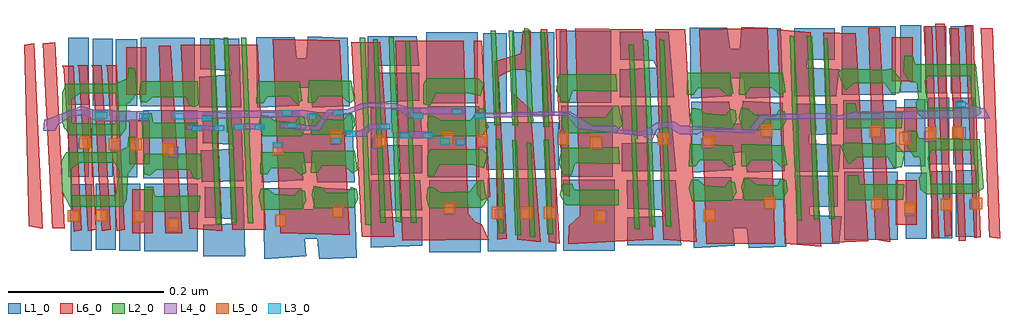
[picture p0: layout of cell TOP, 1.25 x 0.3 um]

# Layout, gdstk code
import gdstk
lib = gdstk.Library(unit=1e-6, precision=1e-09)
def R(c, l, rs):  # rectangles x0, y0, x1, y1
    for r in rs: c.add(gdstk.rectangle(r[:2], r[2:], *l))
def P(c, l, *ps):  # polygons
    for p in ps: c.add(gdstk.Polygon(p, *l))
L1_0 = (1, 0)
L2_0 = (2, 0)
L3_0 = (3, 0)
L4_0 = (4, 0)
L5_0 = (5, 0)
L6_0 = (6, 0)

top = lib.new_cell('TOP')
R(top, L1_0, [(0.678,-0.317,0.744,-0.225), (0.312,-0.316,0.381,-0.229), (0.753,-0.316,0.841,-0.222), (0.218,-0.315,0.245,-0.23), (0.28,-0.315,0.307,-0.229), (0.85,-0.315,0.916,-0.224), (0.25,-0.314,0.276,-0.229), (1.21,-0.301,1.279,-0.214), (1.289,-0.3,1.316,-0.215), (1.322,-0.299,1.349,-0.213), (1.353,-0.297,1.38,-0.212), (0.311,-0.222,0.38,-0.135), (0.277,-0.221,0.303,-0.136), (0.676,-0.221,0.742,-0.13), (0.215,-0.22,0.241,-0.134), (0.245,-0.22,0.272,-0.134), (0.847,-0.22,0.913,-0.129), (0.751,-0.211,0.844,-0.15), (1.209,-0.21,1.277,-0.122), (1.287,-0.207,1.314,-0.121), (1.318,-0.204,1.345,-0.119), (1.35,-0.204,1.377,-0.119), (0.784,-0.141,0.838,-0.035), (0.747,-0.14,0.777,-0.036), (0.308,-0.13,0.377,-0.042), (0.246,-0.129,0.272,-0.043), (0.276,-0.129,0.303,-0.044), (0.215,-0.128,0.241,-0.042), (0.674,-0.126,0.74,-0.035), (0.845,-0.125,0.911,-0.033), (1.207,-0.115,1.276,-0.027), (1.314,-0.113,1.341,-0.027), (1.347,-0.113,1.374,-0.027), (1.282,-0.112,1.309,-0.026)])
P(top, L1_0, [(0.383,-0.132),(0.383,-0.092),(0.424,-0.089),(0.423,-0.084),(0.384,-0.082),(0.384,-0.042),(0.434,-0.043),(0.437,-0.131)],
  [(0.386,-0.227),(0.385,-0.186),(0.427,-0.184),(0.426,-0.179),(0.387,-0.177),(0.387,-0.137),(0.437,-0.138),(0.44,-0.226)],
  [(0.388,-0.323),(0.388,-0.282),(0.43,-0.28),(0.428,-0.275),(0.39,-0.273),(0.39,-0.233),(0.439,-0.234),(0.442,-0.322)],
  [(0.457,-0.132),(0.456,-0.041),(0.505,-0.041),(0.508,-0.068),(0.52,-0.068),(0.522,-0.04),(0.573,-0.042),(0.576,-0.13),(0.528,-0.132),(0.525,-0.106),(0.509,-0.106),(0.511,-0.129)],
  [(0.463,-0.228),(0.462,-0.137),(0.511,-0.137),(0.514,-0.165),(0.526,-0.165),(0.528,-0.137),(0.579,-0.139),(0.582,-0.227),(0.534,-0.228),(0.531,-0.202),(0.515,-0.203),(0.516,-0.225)],
  [(0.466,-0.326),(0.465,-0.235),(0.514,-0.235),(0.517,-0.262),(0.529,-0.262),(0.531,-0.234),(0.582,-0.236),(0.585,-0.324),(0.537,-0.326),(0.534,-0.3),(0.518,-0.3),(0.52,-0.322)],
  [(1.013,-0.12),(1.012,-0.029),(1.06,-0.029),(1.064,-0.056),(1.076,-0.056),(1.078,-0.028),(1.129,-0.03),(1.132,-0.118),(1.083,-0.12),(1.081,-0.094),(1.064,-0.094),(1.066,-0.117)],
  [(1.015,-0.215),(1.014,-0.124),(1.063,-0.124),(1.066,-0.152),(1.078,-0.152),(1.08,-0.123),(1.131,-0.125),(1.134,-0.213),(1.085,-0.215),(1.083,-0.189),(1.066,-0.19),(1.068,-0.212)],
  [(1.017,-0.312),(1.016,-0.221),(1.065,-0.221),(1.068,-0.249),(1.08,-0.249),(1.082,-0.221),(1.133,-0.223),(1.136,-0.31),(1.088,-0.312),(1.085,-0.286),(1.068,-0.287),(1.07,-0.309)],
  [(0.603,-0.218),(0.603,-0.132),(0.666,-0.132),(0.669,-0.17),(0.614,-0.171),(0.616,-0.179),(0.669,-0.18),(0.669,-0.216)],
  [(0.603,-0.311),(0.603,-0.225),(0.666,-0.225),(0.669,-0.263),(0.614,-0.263),(0.617,-0.272),(0.669,-0.272),(0.669,-0.309)],
  [(0.599,-0.126),(0.599,-0.04),(0.662,-0.04),(0.665,-0.078),(0.61,-0.078),(0.612,-0.087),(0.665,-0.087),(0.665,-0.123)],
  [(1.146,-0.117),(1.146,-0.029),(1.198,-0.03),(1.198,-0.07),(1.162,-0.07),(1.162,-0.08),(1.204,-0.082),(1.2,-0.117)],
  [(1.148,-0.214),(1.148,-0.126),(1.201,-0.127),(1.201,-0.166),(1.165,-0.167),(1.165,-0.177),(1.206,-0.179),(1.203,-0.214)],
  [(1.149,-0.306),(1.149,-0.218),(1.202,-0.219),(1.202,-0.259),(1.166,-0.259),(1.166,-0.269),(1.207,-0.271),(1.204,-0.306)],
  [(0.925,-0.213),(0.925,-0.177),(0.972,-0.175),(0.969,-0.167),(0.926,-0.165),(0.924,-0.129),(0.987,-0.129),(0.995,-0.213)],
  [(0.922,-0.118),(0.922,-0.082),(0.969,-0.08),(0.966,-0.072),(0.923,-0.07),(0.922,-0.034),(0.985,-0.034),(0.992,-0.118)],
  [(0.932,-0.309),(0.932,-0.272),(0.979,-0.27),(0.975,-0.263),(0.932,-0.261),(0.931,-0.225),(0.994,-0.225),(1.001,-0.308)])
P(top, L2_0, [(0.21,-0.247),(0.207,-0.239),(0.206,-0.2),(0.212,-0.189),(0.276,-0.189),(0.291,-0.182),(0.292,-0.169),(0.301,-0.169),(0.302,-0.202),(0.293,-0.215),(0.281,-0.215),(0.275,-0.203),(0.23,-0.202),(0.219,-0.21),(0.219,-0.245)],
  [(0.217,-0.259),(0.211,-0.247),(0.22,-0.244),(0.276,-0.244),(0.28,-0.214),(0.292,-0.215),(0.29,-0.25),(0.285,-0.259)],
  [(0.404,-0.281),(0.399,-0.159),(0.406,-0.16),(0.411,-0.281)],
  [(0.431,-0.28),(0.424,-0.279),(0.42,-0.158),(0.426,-0.159)],
  [(0.445,-0.28),(0.44,-0.158),(0.447,-0.159),(0.452,-0.28)],
  [(0.604,-0.283),(0.596,-0.282),(0.592,-0.16),(0.598,-0.161)],
  [(0.622,-0.28),(0.615,-0.279),(0.61,-0.158),(0.617,-0.159)],
  [(0.642,-0.279),(0.635,-0.278),(0.631,-0.157),(0.637,-0.158)],
  [(0.662,-0.28),(0.654,-0.279),(0.65,-0.158),(0.656,-0.159)],
  [(0.767,-0.293),(0.763,-0.171),(0.769,-0.172),(0.774,-0.293)],
  [(0.788,-0.295),(0.784,-0.173),(0.79,-0.174),(0.796,-0.295)],
  [(0.814,-0.298),(0.807,-0.297),(0.803,-0.175),(0.809,-0.177)],
  [(0.829,-0.294),(0.825,-0.172),(0.831,-0.173),(0.837,-0.294)],
  [(0.948,-0.288),(0.941,-0.287),(0.937,-0.166),(0.943,-0.167)],
  [(0.968,-0.285),(0.96,-0.284),(0.956,-0.162),(0.963,-0.163)],
  [(0.988,-0.285),(0.981,-0.284),(0.977,-0.162),(0.983,-0.163)],
  [(1.156,-0.277),(1.149,-0.276),(1.144,-0.154),(1.151,-0.156)],
  [(1.171,-0.275),(1.167,-0.153),(1.173,-0.154),(1.178,-0.275)],
  [(1.198,-0.275),(1.191,-0.274),(1.187,-0.153),(1.193,-0.154)],
  [(0.381,-0.224),(0.375,-0.223),(0.371,-0.212),(0.328,-0.211),(0.319,-0.219),(0.312,-0.217),(0.311,-0.205),(0.313,-0.19),(0.385,-0.191),(0.387,-0.221)],
  [(0.312,-0.266),(0.312,-0.233),(0.324,-0.233),(0.326,-0.245),(0.384,-0.244),(0.383,-0.265)],
  [(0.513,-0.218),(0.503,-0.209),(0.475,-0.209),(0.47,-0.217),(0.461,-0.217),(0.462,-0.188),(0.517,-0.189),(0.52,-0.215)],
  [(0.463,-0.263),(0.459,-0.246),(0.462,-0.235),(0.471,-0.236),(0.479,-0.242),(0.505,-0.244),(0.511,-0.236),(0.518,-0.238),(0.52,-0.251),(0.514,-0.262)],
  [(0.531,-0.261),(0.527,-0.243),(0.53,-0.232),(0.538,-0.233),(0.546,-0.24),(0.573,-0.241),(0.578,-0.233),(0.585,-0.236),(0.587,-0.248),(0.581,-0.26)],
  [(0.579,-0.216),(0.569,-0.206),(0.54,-0.207),(0.535,-0.215),(0.526,-0.215),(0.527,-0.186),(0.582,-0.187),(0.586,-0.212)],
  [(0.683,-0.221),(0.675,-0.219),(0.675,-0.193),(0.679,-0.185),(0.746,-0.185),(0.753,-0.192),(0.748,-0.209),(0.733,-0.205),(0.691,-0.205)],
  [(0.678,-0.261),(0.674,-0.248),(0.676,-0.234),(0.683,-0.234),(0.692,-0.24),(0.73,-0.239),(0.741,-0.225),(0.748,-0.225),(0.75,-0.241),(0.753,-0.249),(0.745,-0.26)],
  [(0.86,-0.219),(0.85,-0.218),(0.844,-0.202),(0.848,-0.183),(0.921,-0.182),(0.922,-0.204),(0.865,-0.203)],
  [(0.853,-0.257),(0.845,-0.243),(0.849,-0.229),(0.861,-0.229),(0.864,-0.237),(0.921,-0.236),(0.921,-0.257)],
  [(1.063,-0.208),(1.053,-0.199),(1.025,-0.199),(1.02,-0.207),(1.011,-0.207),(1.012,-0.178),(1.067,-0.18),(1.071,-0.205)],
  [(1.13,-0.208),(1.12,-0.199),(1.091,-0.199),(1.086,-0.207),(1.078,-0.207),(1.078,-0.178),(1.133,-0.18),(1.137,-0.205)],
  [(1.015,-0.252),(1.011,-0.235),(1.014,-0.224),(1.023,-0.224),(1.031,-0.231),(1.057,-0.233),(1.063,-0.225),(1.07,-0.227),(1.072,-0.24),(1.066,-0.251)],
  [(1.082,-0.251),(1.078,-0.233),(1.081,-0.222),(1.089,-0.223),(1.097,-0.23),(1.124,-0.231),(1.129,-0.223),(1.136,-0.225),(1.138,-0.238),(1.132,-0.25)],
  [(1.215,-0.251),(1.215,-0.218),(1.228,-0.218),(1.23,-0.23),(1.287,-0.229),(1.286,-0.25)],
  [(1.274,-0.209),(1.266,-0.195),(1.227,-0.195),(1.217,-0.204),(1.215,-0.203),(1.206,-0.182),(1.212,-0.176),(1.267,-0.178),(1.275,-0.176),(1.288,-0.191),(1.284,-0.208)],
  [(1.38,-0.241),(1.379,-0.225),(1.376,-0.186),(1.322,-0.187),(1.318,-0.196),(1.3,-0.195),(1.291,-0.182),(1.292,-0.161),(1.303,-0.161),(1.306,-0.17),(1.384,-0.172),(1.389,-0.235)],
  [(1.316,-0.243),(1.308,-0.236),(1.306,-0.222),(1.309,-0.216),(1.307,-0.195),(1.318,-0.195),(1.322,-0.229),(1.379,-0.229),(1.38,-0.242)],
  [(0.216,-0.167),(0.209,-0.155),(0.218,-0.151),(0.275,-0.152),(0.278,-0.121),(0.29,-0.122),(0.289,-0.158),(0.283,-0.167)],
  [(0.21,-0.159),(0.207,-0.151),(0.207,-0.111),(0.212,-0.101),(0.276,-0.1),(0.291,-0.094),(0.292,-0.08),(0.301,-0.081),(0.303,-0.113),(0.293,-0.126),(0.281,-0.126),(0.275,-0.114),(0.23,-0.113),(0.219,-0.121),(0.219,-0.156)],
  [(0.377,-0.131),(0.37,-0.129),(0.366,-0.119),(0.323,-0.118),(0.315,-0.125),(0.307,-0.124),(0.306,-0.112),(0.308,-0.097),(0.381,-0.098),(0.382,-0.128)],
  [(0.31,-0.171),(0.309,-0.139),(0.322,-0.139),(0.324,-0.151),(0.381,-0.15),(0.38,-0.171)],
  [(0.408,-0.165),(0.4,-0.164),(0.396,-0.043),(0.402,-0.044)],
  [(0.418,-0.163),(0.414,-0.041),(0.42,-0.042),(0.425,-0.163)],
  [(0.441,-0.163),(0.437,-0.041),(0.443,-0.042),(0.448,-0.163)],
  [(0.594,-0.163),(0.589,-0.041),(0.596,-0.042),(0.601,-0.163)],
  [(0.617,-0.165),(0.61,-0.164),(0.606,-0.043),(0.612,-0.044)],
  [(0.63,-0.162),(0.626,-0.04),(0.632,-0.041),(0.638,-0.162)],
  [(0.659,-0.167),(0.651,-0.166),(0.647,-0.045),(0.653,-0.046)],
  [(0.761,-0.154),(0.757,-0.032),(0.763,-0.033),(0.769,-0.154)],
  [(0.784,-0.154),(0.78,-0.032),(0.786,-0.033),(0.792,-0.154)],
  [(0.811,-0.152),(0.804,-0.151),(0.8,-0.029),(0.806,-0.031)],
  [(0.824,-0.156),(0.82,-0.034),(0.826,-0.035),(0.832,-0.156)],
  [(0.857,-0.125),(0.847,-0.124),(0.841,-0.109),(0.844,-0.089),(0.918,-0.089),(0.919,-0.111),(0.862,-0.11)],
  [(0.851,-0.165),(0.847,-0.153),(0.849,-0.138),(0.856,-0.138),(0.865,-0.144),(0.904,-0.143),(0.915,-0.129),(0.921,-0.129),(0.924,-0.145),(0.926,-0.153),(0.918,-0.164)],
  [(1.06,-0.116),(1.05,-0.107),(1.022,-0.107),(1.017,-0.115),(1.008,-0.115),(1.009,-0.086),(1.064,-0.087),(1.068,-0.113)],
  [(1.075,-0.115),(1.076,-0.086),(1.131,-0.087),(1.135,-0.112),(1.127,-0.115),(1.117,-0.106),(1.089,-0.107),(1.084,-0.115)],
  [(1.016,-0.16),(1.012,-0.143),(1.015,-0.132),(1.024,-0.133),(1.032,-0.139),(1.058,-0.141),(1.064,-0.133),(1.071,-0.135),(1.072,-0.148),(1.066,-0.16)],
  [(1.08,-0.161),(1.075,-0.144),(1.078,-0.132),(1.087,-0.133),(1.095,-0.14),(1.122,-0.142),(1.127,-0.134),(1.134,-0.136),(1.136,-0.148),(1.13,-0.16)],
  [(1.271,-0.114),(1.262,-0.1),(1.223,-0.1),(1.213,-0.109),(1.211,-0.108),(1.202,-0.087),(1.208,-0.081),(1.263,-0.083),(1.271,-0.081),(1.284,-0.097),(1.281,-0.113)],
  [(1.213,-0.158),(1.213,-0.126),(1.225,-0.126),(1.227,-0.138),(1.285,-0.137),(1.284,-0.158)],
  [(1.144,-0.161),(1.14,-0.039),(1.146,-0.04),(1.152,-0.161)],
  [(1.167,-0.161),(1.162,-0.039),(1.169,-0.04),(1.174,-0.161)],
  [(1.194,-0.164),(1.187,-0.163),(1.183,-0.042),(1.189,-0.043)],
  [(1.375,-0.146),(1.374,-0.13),(1.372,-0.091),(1.317,-0.091),(1.313,-0.1),(1.295,-0.099),(1.286,-0.086),(1.287,-0.065),(1.298,-0.065),(1.301,-0.075),(1.379,-0.076),(1.385,-0.139)],
  [(1.312,-0.146),(1.304,-0.139),(1.302,-0.125),(1.305,-0.119),(1.303,-0.098),(1.314,-0.098),(1.318,-0.132),(1.375,-0.132),(1.376,-0.145)],
  [(0.508,-0.127),(0.498,-0.117),(0.47,-0.118),(0.465,-0.126),(0.456,-0.126),(0.457,-0.097),(0.512,-0.098),(0.515,-0.123)],
  [(0.575,-0.126),(0.565,-0.117),(0.536,-0.117),(0.531,-0.125),(0.522,-0.125),(0.523,-0.096),(0.578,-0.097),(0.582,-0.122)],
  [(0.464,-0.169),(0.459,-0.152),(0.462,-0.141),(0.471,-0.142),(0.479,-0.148),(0.506,-0.15),(0.511,-0.142),(0.518,-0.144),(0.52,-0.157),(0.514,-0.168)],
  [(0.527,-0.167),(0.522,-0.149),(0.525,-0.138),(0.534,-0.139),(0.542,-0.146),(0.568,-0.147),(0.574,-0.139),(0.581,-0.142),(0.583,-0.154),(0.577,-0.166)],
  [(0.679,-0.129),(0.67,-0.127),(0.67,-0.102),(0.674,-0.094),(0.741,-0.094),(0.748,-0.101),(0.744,-0.117),(0.728,-0.113),(0.686,-0.114)],
  [(0.678,-0.169),(0.675,-0.156),(0.676,-0.142),(0.683,-0.142),(0.693,-0.148),(0.731,-0.147),(0.742,-0.132),(0.749,-0.133),(0.751,-0.149),(0.754,-0.157),(0.745,-0.168)],
  [(0.985,-0.166),(0.977,-0.165),(0.973,-0.043),(0.979,-0.045)],
  [(0.964,-0.166),(0.957,-0.165),(0.952,-0.043),(0.959,-0.045)],
  [(0.945,-0.172),(0.938,-0.171),(0.934,-0.05),(0.94,-0.051)])
R(top, L3_0, [(0.477,-0.183,0.489,-0.176), (0.712,-0.18,0.724,-0.172), (0.692,-0.179,0.704,-0.171), (0.552,-0.178,0.565,-0.171), (0.64,-0.171,0.653,-0.164), (0.67,-0.171,0.683,-0.164), (0.571,-0.169,0.584,-0.161), (0.373,-0.162,0.386,-0.155), (0.402,-0.161,0.415,-0.154), (0.427,-0.16,0.44,-0.153), (0.454,-0.16,0.467,-0.153), (0.614,-0.159,0.627,-0.152), (0.495,-0.158,0.508,-0.151), (0.386,-0.149,0.399,-0.142), (0.521,-0.147,0.533,-0.14), (0.249,-0.146,0.265,-0.137), (0.306,-0.146,0.319,-0.139), (0.351,-0.146,0.363,-0.139), (0.657,-0.146,0.67,-0.138), (0.736,-0.146,0.749,-0.139), (0.489,-0.142,0.502,-0.135), (0.554,-0.142,0.567,-0.135), (0.707,-0.14,0.72,-0.133), (1.353,-0.131,1.366,-0.124)])
R(top, L4_0, [(0.344,-0.286,0.356,-0.272), (0.481,-0.283,0.494,-0.269), (0.301,-0.278,0.313,-0.264), (0.217,-0.277,0.23,-0.264), (0.251,-0.277,0.263,-0.263), (0.893,-0.277,0.906,-0.264), (1.032,-0.276,1.044,-0.262), (0.762,-0.275,0.775,-0.262), (0.793,-0.274,0.806,-0.261), (0.827,-0.274,0.84,-0.26), (0.554,-0.272,0.567,-0.258), (1.288,-0.271,1.301,-0.257), (0.697,-0.269,0.709,-0.255), (1.334,-0.263,1.347,-0.249), (1.108,-0.262,1.121,-0.249), (1.245,-0.262,1.258,-0.248), (1.371,-0.262,1.383,-0.249), (0.343,-0.196,0.356,-0.182), (0.477,-0.193,0.49,-0.179), (0.269,-0.188,0.282,-0.174), (0.293,-0.186,0.305,-0.173), (0.887,-0.185,0.9,-0.172), (0.228,-0.184,0.24,-0.171), (0.604,-0.184,0.616,-0.17), (1.027,-0.184,1.04,-0.17), (0.739,-0.183,0.751,-0.169), (0.551,-0.179,0.563,-0.166), (0.842,-0.179,0.854,-0.166), (0.696,-0.178,0.708,-0.165), (0.976,-0.178,0.988,-0.165), (1.285,-0.175,1.297,-0.162), (1.313,-0.175,1.326,-0.162), (1.354,-0.171,1.366,-0.157), (1.106,-0.17,1.118,-0.156), (1.245,-0.169,1.257,-0.155), (0.428,-0.159,0.463,-0.152)])
P(top, L4_0, [(0.183,-0.161),(0.184,-0.147),(0.191,-0.145),(0.232,-0.129),(0.248,-0.134),(0.318,-0.136),(0.318,-0.149),(0.251,-0.149),(0.234,-0.141),(0.217,-0.144),(0.201,-0.154),(0.198,-0.161)],
  [(0.524,-0.148),(0.516,-0.143),(0.347,-0.147),(0.346,-0.136),(0.515,-0.134),(0.533,-0.137),(0.533,-0.147)],
  [(0.57,-0.169),(0.569,-0.161),(0.589,-0.161),(0.603,-0.152),(0.628,-0.152),(0.628,-0.159),(0.602,-0.16),(0.597,-0.169)],
  [(0.641,-0.171),(0.64,-0.162),(0.681,-0.162),(0.681,-0.171)],
  [(0.963,-0.175),(0.952,-0.168),(0.869,-0.159),(0.854,-0.142),(0.737,-0.145),(0.736,-0.138),(0.858,-0.136),(0.887,-0.154),(0.917,-0.155),(0.922,-0.159),(0.952,-0.162),(0.97,-0.151),(0.992,-0.149),(1,-0.154),(1.088,-0.159),(1.103,-0.14),(1.188,-0.138),(1.189,-0.146),(1.109,-0.147),(1.094,-0.165),(1.029,-0.162),(1.022,-0.166),(0.999,-0.166),(0.984,-0.157),(0.97,-0.16)],
  [(0.413,-0.162),(0.366,-0.16),(0.366,-0.153),(0.405,-0.155),(0.414,-0.154)],
  [(0.653,-0.146),(0.638,-0.134),(0.599,-0.131),(0.572,-0.14),(0.55,-0.142),(0.548,-0.134),(0.573,-0.133),(0.591,-0.126),(0.634,-0.126),(0.653,-0.132),(0.724,-0.13),(0.724,-0.14),(0.673,-0.14)],
  [(0.537,-0.162),(0.486,-0.158),(0.486,-0.15),(0.532,-0.155),(0.547,-0.134),(0.55,-0.14)],
  [(1.187,-0.147),(1.188,-0.138),(1.201,-0.142),(1.223,-0.137),(1.33,-0.135),(1.352,-0.135),(1.356,-0.123),(1.363,-0.123),(1.371,-0.128),(1.391,-0.133),(1.397,-0.145)])
R(top, L5_0, [(0.342,-0.29,0.356,-0.274), (0.48,-0.284,0.494,-0.269), (0.298,-0.279,0.312,-0.264), (0.889,-0.279,0.904,-0.263), (0.214,-0.278,0.228,-0.263), (1.03,-0.278,1.045,-0.262), (0.25,-0.277,0.265,-0.262), (0.758,-0.274,0.773,-0.259), (0.795,-0.274,0.81,-0.259), (0.825,-0.274,0.84,-0.259), (0.554,-0.272,0.568,-0.257), (0.697,-0.268,0.711,-0.253), (1.287,-0.268,1.301,-0.253), (1.334,-0.263,1.349,-0.248), (1.245,-0.262,1.259,-0.247), (1.373,-0.262,1.387,-0.247), (1.107,-0.261,1.122,-0.246), (0.336,-0.192,0.351,-0.177), (0.477,-0.192,0.491,-0.177), (0.267,-0.186,0.281,-0.171), (0.294,-0.186,0.309,-0.171), (0.229,-0.184,0.243,-0.168), (0.884,-0.184,0.899,-0.169), (1.029,-0.183,1.044,-0.168), (0.608,-0.182,0.622,-0.167), (0.739,-0.181,0.753,-0.166), (0.842,-0.179,0.856,-0.164), (0.971,-0.179,0.986,-0.164), (1.281,-0.179,1.295,-0.163), (0.694,-0.178,0.709,-0.162), (0.551,-0.176,0.566,-0.161), (1.314,-0.173,1.328,-0.157), (1.349,-0.171,1.363,-0.156), (1.243,-0.17,1.258,-0.154), (1.103,-0.169,1.118,-0.153)])
R(top, L6_0, [(0.297,-0.293,0.323,-0.236), (1.276,-0.282,1.303,-0.225), (0.293,-0.204,0.319,-0.147), (1.276,-0.188,1.303,-0.131), (0.289,-0.115,0.315,-0.054), (1.271,-0.098,1.298,-0.041)])
P(top, L6_0, [(0.222,-0.291),(0.209,-0.082),(0.207,-0.078),(0.222,-0.078),(0.232,-0.289)],
  [(0.24,-0.29),(0.228,-0.081),(0.226,-0.077),(0.24,-0.077),(0.251,-0.288)],
  [(0.258,-0.29),(0.246,-0.081),(0.244,-0.077),(0.258,-0.077),(0.269,-0.288)],
  [(0.277,-0.29),(0.265,-0.081),(0.263,-0.077),(0.277,-0.077),(0.287,-0.288)],
  [(0.339,-0.293),(0.331,-0.052),(0.346,-0.052),(0.361,-0.293)],
  [(0.576,-0.295),(0.487,-0.293),(0.477,-0.043),(0.563,-0.045)],
  [(0.633,-0.298),(0.591,-0.297),(0.578,-0.047),(0.615,-0.048)],
  [(0.643,-0.302),(0.634,-0.046),(0.722,-0.046),(0.728,-0.268),(0.737,-0.278),(0.745,-0.281),(0.754,-0.301)],
  [(0.745,-0.251),(0.739,-0.242),(0.735,-0.046),(0.745,-0.046),(0.756,-0.246)],
  [(0.765,-0.301),(0.762,-0.072),(0.795,-0.062),(0.798,-0.033),(0.808,-0.033),(0.808,-0.087),(0.799,-0.083),(0.785,-0.083),(0.767,-0.092),(0.777,-0.3)],
  [(0.821,-0.304),(0.791,-0.301),(0.786,-0.113),(0.808,-0.134)],
  [(0.858,-0.246),(0.852,-0.244),(0.847,-0.237),(0.847,-0.201),(0.842,-0.106),(0.84,-0.031),(0.854,-0.031),(0.858,-0.239)],
  [(0.845,-0.306),(0.831,-0.304),(0.821,-0.031),(0.829,-0.031)],
  [(0.856,-0.307),(0.857,-0.283),(0.871,-0.27),(0.865,-0.03),(0.952,-0.031),(0.965,-0.301)],
  [(1.021,-0.304),(0.978,-0.301),(0.968,-0.031),(1.006,-0.031)],
  [(1.033,-0.307),(1.024,-0.031),(1.112,-0.029),(1.122,-0.306)],
  [(1.269,-0.304),(1.25,-0.301),(1.241,-0.029),(1.256,-0.029)],
  [(1.324,-0.3),(1.312,-0.027),(1.323,-0.027),(1.332,-0.299)],
  [(1.339,-0.297),(1.327,-0.024),(1.339,-0.024),(1.348,-0.296)],
  [(1.357,-0.303),(1.345,-0.03),(1.357,-0.03),(1.366,-0.302)],
  [(1.377,-0.299),(1.365,-0.026),(1.376,-0.026),(1.385,-0.298)],
  [(0.412,-0.29),(0.37,-0.287),(0.359,-0.051),(0.402,-0.05)],
  [(0.468,-0.289),(0.425,-0.288),(0.415,-0.05),(0.458,-0.051)],
  [(1.181,-0.31),(1.134,-0.306),(1.124,-0.031),(1.167,-0.035)],
  [(1.195,-0.305),(1.183,-0.035),(1.225,-0.036),(1.241,-0.303)],
  [(0.21,-0.287),(0.194,-0.286),(0.182,-0.049),(0.198,-0.048)],
  [(0.182,-0.287),(0.164,-0.284),(0.158,-0.051),(0.171,-0.049)],
  [(1.41,-0.3),(1.396,-0.298),(1.385,-0.029),(1.401,-0.03)])

lib.write_gds('TOP.gds')
